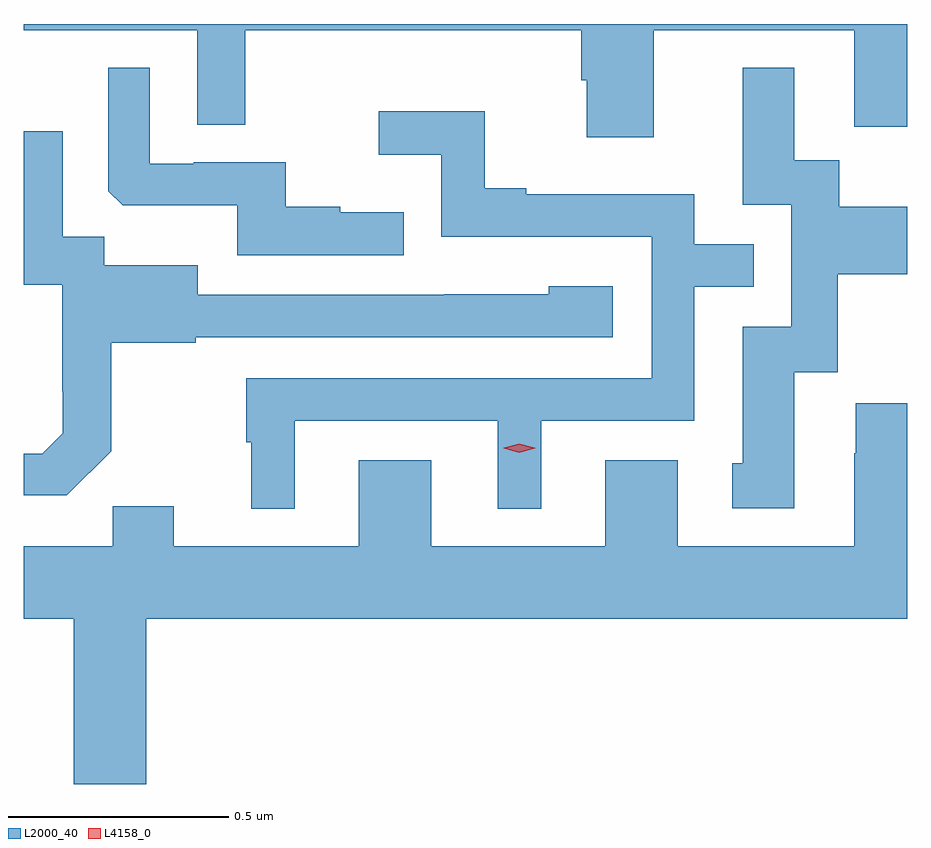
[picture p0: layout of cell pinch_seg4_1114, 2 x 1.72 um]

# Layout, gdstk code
import gdstk
lib = gdstk.Library(unit=1e-6, precision=1e-09)
def P(c, l, *ps):  # polygons
    for p in ps: c.add(gdstk.Polygon(p, *l))
L2000_40 = (2000, 40)
L4158_0 = (4158, 0)

pinch_seg4_1114 = lib.new_cell('pinch_seg4_1114')
P(pinch_seg4_1114, L2000_40, [(633.853,830.12),(634.307,830.12),(634.307,829.902),(634.427,829.902),(634.427,830.134),(632.427,830.134),(632.427,830.12),(632.82,830.12),(632.82,829.906),(632.929,829.906),(632.929,830.12),(633.689,830.12),(633.689,830.007),(633.701,830.007),(633.701,829.878),(633.853,829.878)],
  [(634.171,829.346),(634.269,829.346),(634.269,829.568),(634.427,829.568),(634.427,829.72),(634.273,829.72),(634.273,829.826),(634.171,829.826),(634.171,830.035),(634.055,830.035),(634.055,829.725),(634.164,829.725),(634.164,829.449),(634.055,829.449),(634.055,829.14),(634.031,829.14),(634.031,829.038),(634.171,829.038)],
  [(633.287,829.708),(633.143,829.708),(633.143,829.72),(633.02,829.72),(633.02,829.821),(632.812,829.821),(632.812,829.818),(632.712,829.818),(632.712,830.035),(632.619,830.035),(632.619,829.755),(632.651,829.724),(632.91,829.724),(632.91,829.611),(633.287,829.611)],
  [(633.04,829.236),(633.5,829.236),(633.5,829.037),(633.598,829.037),(633.598,829.236),(633.945,829.236),(633.945,829.539),(634.079,829.539),(634.079,829.635),(633.945,829.635),(633.945,829.749),(633.565,829.749),(633.565,829.762),(633.471,829.762),(633.471,829.937),(633.231,829.937),(633.231,829.838),(633.372,829.838),(633.372,829.653),(633.849,829.653),(633.849,829.332),(632.931,829.332),(632.931,829.188),(632.942,829.188),(632.942,829.037),(633.04,829.037)],
  [(632.625,829.167),(632.625,829.413),(632.817,829.413),(632.817,829.425),(633.76,829.425),(633.76,829.54),(633.615,829.54),(633.615,829.522),(633.379,829.522),(633.379,829.521),(632.821,829.521),(632.821,829.588),(632.61,829.588),(632.61,829.652),(632.515,829.652),(632.515,829.891),(632.427,829.891),(632.427,829.544),(632.514,829.544),(632.514,829.303),(632.516,829.303),(632.516,829.208),(632.469,829.161),(632.427,829.161),(632.427,829.067),(632.525,829.067)],
  [(632.704,828.788),(634.427,828.788),(634.427,829.276),(634.31,829.276),(634.31,829.163),(634.307,829.163),(634.307,828.952),(633.907,828.952),(633.907,829.147),(633.743,829.147),(633.743,828.952),(633.349,828.952),(633.349,829.147),(633.185,829.147),(633.185,828.952),(632.767,828.952),(632.767,829.043),(632.629,829.043),(632.629,828.952),(632.427,828.952),(632.427,828.788),(632.54,828.788),(632.54,828.414),(632.704,828.414)])
P(pinch_seg4_1114, L4158_0, [(633.549,829.164),(633.514,829.174),(633.513,829.174),(633.514,829.175),(633.549,829.184),(633.584,829.175),(633.585,829.174),(633.584,829.174)])

lib.write_gds('pinch_seg4_1114.gds')
